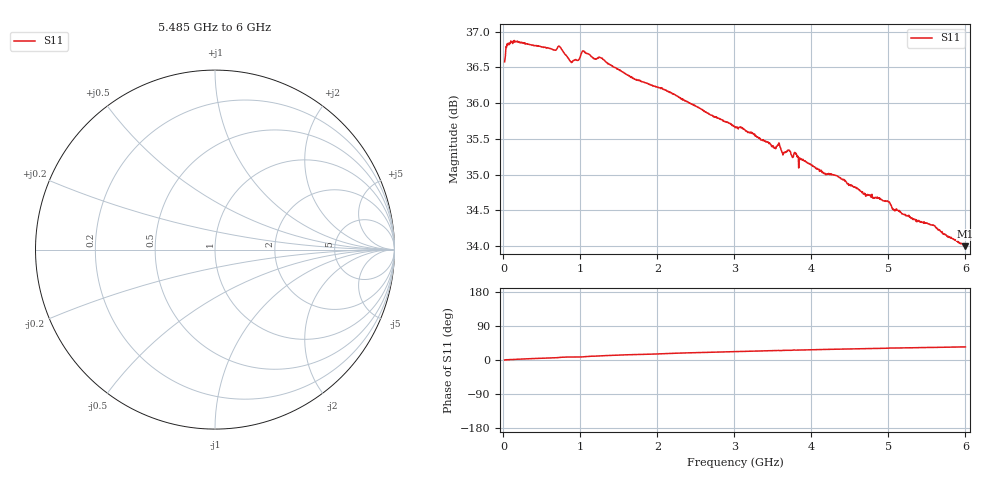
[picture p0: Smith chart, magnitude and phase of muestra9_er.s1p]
! NanoVNA-UTN-Toolkit permittivity export -- NOT S-parameters
! ES: Permitividad relativa compleja de la muestra. NO es S11: se guarda en
! ES: formato Touchstone solo para poder graficarla con visores de .s1p.
! EN: Complex relative permittivity of the sample. NOT S11: the Touchstone
! EN: format is used only so that .s1p viewers can plot it.
! Columns / Columnas: f (Hz) | eps' | eps'' (loss >= 0); eps_r = eps' - j*eps''
! Sample / Muestra: muestra9
! Technique / Tecnica: Open-ended coaxial probe (liquids)
! References / Referencias: water + ipa
! Probe / Sonda: 3 mm probe (C0 0.019 pF)
! Temperature / Temperatura: 23.0 °C
! Reliable from 45 MHz: points below are not reliable / Confiable desde 45 MHz: los puntos inferiores no son confiables
! Spike removal replaced 1 isolated S11 point(s) before solving / La remocion de picos reemplazo 1 punto(s) aislado(s) de S11
! 2 point(s) without a solution omitted / 2 punto(s) sin solucion omitidos
! Exported / Exportado: 2026-10-24T12:26:40
# Hz S RI R 50
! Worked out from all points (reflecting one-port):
!   1198 points, 15 MHz to 6 GHz, reference 50 ohm
!   lowest |S11| = 34.0 dB at 6 GHz (marker M1)
!   phase of S11 starts at 0 deg and turns +34 deg over the sweep
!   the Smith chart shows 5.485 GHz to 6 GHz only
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1.5e7  67.45 0.0337
6e7  69.46 0.8914
1.5e8  69.68 1.981
3.8e8  69.14 4.555
6.9e8  68.44 7.205
7.25e8  68.68 8.017
7.65e8  68.14 8.798
8.75e8  66.83 9.244
9.95e8  67.31 9.263
1.035e9  67.87 10.23
1.12e9  67.23 11.55
1.265e9  66.65 12.87
1.515e9  64.84 15.07
1.945e9  62.49 17.47
2.26e9  60.67 19.77
3.01e9  56.2 22.86
3.24e9  55.21 23.74
3.495e9  53.5 24.6
3.555e9  53.25 25.12
3.61e9  53.03 24.62
3.675e9  52.51 25.35
3.715e9  52.72 25.31
3.76e9  51.95 25.4
4.505e9  48.24 26.98
5.02e9  45.78 28.09
5.255e9  44.5 28.06
5.6e9  43.35 28.35
6e9  41.29 28.41
